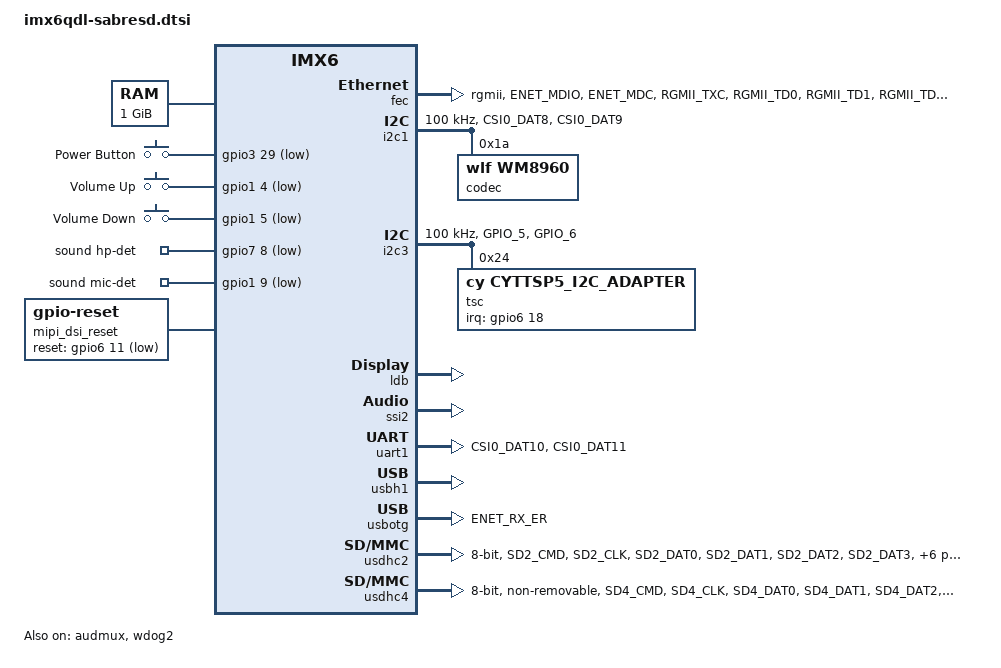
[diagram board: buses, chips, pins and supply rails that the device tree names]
/*
 * Copyright 2012-2016 Freescale Semiconductor, Inc.
 * Copyright 2011 Linaro Ltd.
 *
 * The code contained herein is licensed under the GNU General Public
 * License. You may obtain a copy of the GNU General Public License
 * Version 2 or later at the following locations:
 *
 * http://www.opensource.org/licenses/gpl-license.html
 * http://www.gnu.org/copyleft/gpl.html
 */

#include <dt-bindings/gpio/gpio.h>
#include <dt-bindings/input/input.h>
#include "imx6-timings.dtsi"

/ {
	aliases {
		mxcfb0 = &mxcfb1;
		mxcfb1 = &mxcfb2;
		mxcfb2 = &mxcfb3;
	};

	chosen {
		stdout-path = &uart1;
	};

	memory: memory {
		reg = <0x10000000 0x40000000>;
	};

	gpio-keys {
		compatible = "gpio-keys";
		pinctrl-names = "default";
		pinctrl-0 = <&pinctrl_gpio_keys>;

		power {
			label = "Power Button";
			gpios = <&gpio3 29 GPIO_ACTIVE_LOW>;
			gpio-key,wakeup;
			linux,code = <KEY_POWER>;
		};

		volume-up {
			label = "Volume Up";
			gpios = <&gpio1 4 GPIO_ACTIVE_LOW>;
			gpio-key,wakeup;
			linux,code = <KEY_VOLUMEUP>;
		};

		volume-down {
			label = "Volume Down";
			gpios = <&gpio1 5 GPIO_ACTIVE_LOW>;
			gpio-key,wakeup;
			linux,code = <KEY_VOLUMEDOWN>;
		};
	};

	sound {
		compatible = "fsl,imx6q-sabresd-wm8960",
			     "fsl,imx-audio-wm8960";
		model = "wm8960-audio";
		cpu-dai = <&ssi2>;
		audio-codec = <&codec>;
		asrc-controller = <&asrc>;
		audio-routing =
			"Headphone Jack", "HP_L",
			"Headphone Jack", "HP_R",
			"Ext Spk", "SPK_RP",
			"Ext Spk", "SPK_RN",
			"LINPUT1", "Main MIC",
			"Main MIC", "MICB"
			,"CPU-Playback", "ASRC-Playback",
			"Playback", "CPU-Playback",
			"ASRC-Capture", "CPU-Capture",
			"CPU-Capture", "Capture";
		codec-master;
		mux-int-port = <2>;
		mux-ext-port = <3>;
		hp-det-gpios = <&gpio7 8 1>;
		mic-det-gpios = <&gpio1 9 1>;
	};

	sound-hdmi {
		compatible = "fsl,imx6q-audio-hdmi",
			     "fsl,imx-audio-hdmi";
		model = "imx-audio-hdmi";
		hdmi-controller = <&hdmi_audio>;
	};

	mxcfb1: fb@0 {
		compatible = "fsl,mxc_sdc_fb";
		disp_dev = "ldb";
		interface_pix_fmt = "RGB24";
		default_bpp = <32>;
		int_clk = <0>;
		late_init = <0>;
		status = "okay";
	};

	mxcfb2: fb@1 {
		compatible = "fsl,mxc_sdc_fb";
		disp_dev = "hdmi";
		interface_pix_fmt = "RGB24";
		mode_str ="1920x1080M@60";
		default_bpp = <32>;
		int_clk = <0>;
		late_init = <0>;
		status = "disabled";
	};

	mxcfb3: fb@2 {
		compatible = "fsl,mxc_sdc_fb";
		disp_dev = "lcd";
		interface_pix_fmt = "RGB565";
		mode_str ="CLAA-WVGA";
		default_bpp = <16>;
		int_clk = <0>;
		late_init = <0>;
		status = "disabled";
	};

	lcd@0 {
		compatible = "fsl,lcd";
		ipu_id = <0>;
		disp_id = <0>;
		default_ifmt = "RGB565";
		pinctrl-names = "default";
		pinctrl-0 = <&pinctrl_ipu1>;
		status = "disabled";
	};

	backlight {
		compatible = "pwm-backlight";
		pwms = <&pwm1 0 5000000>;
		brightness-levels = <0 4 8 16 32 64 128 255>;
		default-brightness-level = <7>;
		status = "disabled";
	};

	v4l2_cap_0 {
		compatible = "fsl,imx6q-v4l2-capture";
		ipu_id = <0>;
		csi_id = <0>;
		mclk_source = <0>;
		status = "disabled";
	};

	v4l2_cap_1 {
		compatible = "fsl,imx6q-v4l2-capture";
		ipu_id = <0>;
		csi_id = <1>;
		mclk_source = <0>;
		status = "disabled";
	};

	v4l2_out {
		compatible = "fsl,mxc_v4l2_output";
		status = "okay";
	};

	mipi_dsi_reset: mipi-dsi-reset {
		compatible = "gpio-reset";
		reset-gpios = <&gpio6 11 GPIO_ACTIVE_LOW>;
		reset-delay-us = <50>;
		#reset-cells = <0>;
	};
};

&audmux {
	pinctrl-names = "default";
	pinctrl-0 = <&pinctrl_audmux>;
	status = "okay";
};

&clks {
	fsl,ldb-di0-parent = <&clks IMX6QDL_CLK_PLL2_PFD0_352M>;
	fsl,ldb-di1-parent = <&clks IMX6QDL_CLK_PLL2_PFD0_352M>;
};

&fec {
	pinctrl-names = "default";
	pinctrl-0 = <&pinctrl_enet>;
	phy-mode = "rgmii";
	phy-reset-gpios = <&gpio1 25 0>;
	fsl,magic-packet;
	status = "okay";
};

&gpc {
	fsl,ldo-bypass = <1>;
};

&hdmi_audio {
	status = "disabled";
};

&hdmi_cec {
	pinctrl-names = "default";
	pinctrl-0 = <&pinctrl_hdmi_cec>;
	status = "disabled";
};

&hdmi_core {
	ipu_id = <0>;
	disp_id = <0>;
	status = "disabled";
};

&hdmi_video {
	fsl,phy_reg_vlev = <0x0294>;
	fsl,phy_reg_cksymtx = <0x800d>;
	status = "disabled";
};

&i2c1 {
	clock-frequency = <100000>;
	pinctrl-names = "default";
	pinctrl-0 = <&pinctrl_i2c1>;
	status = "okay";

	codec: wm8960@1a {
		compatible = "wlf,wm8960";
		reg = <0x1a>;
		clock-names = "mclk";
		clocks = <&clks IMX6QDL_CLK_CKO>;
		wlf,shared-lrclk;
	};
};

&i2c2 {
	clock-frequency = <100000>;
	pinctrl-names = "default";
	pinctrl-0 = <&pinctrl_i2c2>;
	status = "disabled";

	hdmi: edid@50 {
		compatible = "fsl,imx6-hdmi-i2c";
		reg = <0x50>;
	};
};

&i2c3 {
	clock-frequency = <100000>;
	pinctrl-names = "default";
	pinctrl-0 = <&pinctrl_i2c3>;
	status = "okay";

	tsc@24 {
		compatible = "cy,cyttsp5_i2c_adapter";
		reg = <0x24>;

		/* GPIO 38, high-to-low edge triggered */
		interrupts = <18 2>;
		interrupt-parent = <&gpio6>;
		cy,adapter_id = "cyttsp5_i2c_adapter";

		cy,core {
			cy,name = "cyttsp5_core";
			cy,id = "main_ttsp_core";

			cy,irq_gpio = <&gpio6 18 0>;
			cy,rst_gpio =  <&gpio7 1 0>;
			cy,hid_desc_register = <1>;
			/* CY_CORE_FLAG_WAKE_ON_GESTURE */
			cy,flags = <1>;

			cy,mt {
				cy,name = "cyttsp5_mt";

				cy,inp_dev_name = "cyttsp5_mt";
				/* CY_MT_FLAG_FLIP | CY_MT_FLAG_INV_X | CY_MT_FLAG_INV_Y */
				cy,flags = <0x38>;
				cy,abs =
					/* ABS_MT_POSITION_X, CY_ABS_MIN_X, CY_ABS_MAX_X, 0, 0 */
					<0x35 0 880 0 0
					/* ABS_MT_POSITION_Y, CY_ABS_MIN_Y, CY_ABS_MAX_Y, 0, 0 */
					0x36 0 1280 0 0
					/* ABS_MT_PRESSURE, CY_ABS_MIN_P, CY_ABS_MAX_P, 0, 0 */
					0x3a 0 255 0 0
					/* CY_IGNORE_VALUE, CY_ABS_MIN_W, CY_ABS_MAX_W, 0, 0 */
					0xffff 0 255 0 0
					/* ABS_MT_TRACKING_ID, CY_ABS_MIN_T, CY_ABS_MAX_T, 0, 0 */
					0x39 0 15 0 0
					/* ABS_MT_TOUCH_MAJOR, 0, 255, 0, 0 */
					0x30 0 255 0 0
					/* ABS_MT_TOUCH_MINOR, 0, 255, 0, 0 */
					0x31 0 255 0 0
					/* ABS_MT_ORIENTATION, -128, 127, 0, 0 */
					0x34 0xfffffed7 127 0 0
					/* ABS_MT_TOOL_TYPE, 0, MT_TOOL_MAX, 0, 0 */
					0x37 0 1 0 0>;

				cy,vkeys_x = <720>;
				cy,vkeys_y = <1280>;

				cy,virtual_keys = /* KeyCode CenterX CenterY Width Height */
					/* KEY_BACK */
					<158 1360 90 160 180
					/* KEY_MENU */
					139 1360 270 160 180
					/* KEY_HOMEPAGE */
					172 1360 450 160 180
					/* KEY SEARCH */
					217 1360 630 160 180>;
			};
		};
	};
};

&iomuxc {
	pinctrl-names = "default";
	pinctrl-0 = <&pinctrl_hog>;

	imx6qdl-sabresd {
		pinctrl_hog: hoggrp {
			fsl,pins = <
				MX6QDL_PAD_NANDF_D0__GPIO2_IO00 0x80000000
				MX6QDL_PAD_NANDF_D1__GPIO2_IO01 0x80000000
				MX6QDL_PAD_NANDF_D2__GPIO2_IO02 0x80000000
				MX6QDL_PAD_NANDF_D3__GPIO2_IO03 0x80000000
				MX6QDL_PAD_GPIO_0__CCM_CLKO1    0x130b0
				MX6QDL_PAD_ENET_TXD1__GPIO1_IO29 0x80000000
				MX6QDL_PAD_EIM_D22__GPIO3_IO22  0x80000000
				MX6QDL_PAD_ENET_CRS_DV__GPIO1_IO25 0x80000000
				MX6QDL_PAD_EIM_D26__GPIO3_IO26 0x80000000
				MX6QDL_PAD_EIM_CS1__GPIO2_IO24 0x80000000
				MX6QDL_PAD_ENET_RXD0__GPIO1_IO27 0x80000000
				MX6QDL_PAD_EIM_A25__GPIO5_IO02 0x80000000
				MX6QDL_PAD_EIM_D23__GPIO3_IO23 0x80000000
				MX6QDL_PAD_EIM_EB3__GPIO2_IO31 0x80000000
				MX6QDL_PAD_SD1_CMD__GPIO1_IO18 0x80000000
				MX6QDL_PAD_EIM_D16__GPIO3_IO16 0x80000000
				MX6QDL_PAD_SD3_RST__GPIO7_IO08	0x80000000
				MX6QDL_PAD_GPIO_9__GPIO1_IO09 	0x80000000
				MX6QDL_PAD_EIM_DA9__GPIO3_IO09 0x80000000
				MX6QDL_PAD_NANDF_CS0__GPIO6_IO11 0x80000000
				MX6QDL_PAD_NANDF_CS1__GPIO6_IO14 0x80000000
				MX6QDL_PAD_NANDF_CS2__GPIO6_IO15 0x80000000
				MX6QDL_PAD_NANDF_CS3__GPIO6_IO16 0x80000000
				MX6QDL_PAD_SD3_DAT4__GPIO7_IO01	0x80000000
				MX6QDL_PAD_SD3_DAT6__GPIO6_IO18	0x80000000
			>;
		};

		pinctrl_audmux: audmuxgrp {
			fsl,pins = <
				MX6QDL_PAD_CSI0_DAT7__AUD3_RXD		0x130b0
				MX6QDL_PAD_CSI0_DAT4__AUD3_TXC		0x130b0
				MX6QDL_PAD_CSI0_DAT5__AUD3_TXD		0x110b0
				MX6QDL_PAD_CSI0_DAT6__AUD3_TXFS		0x130b0
			>;
		};

		pinctrl_enet: enetgrp {
			fsl,pins = <
				MX6QDL_PAD_ENET_MDIO__ENET_MDIO		0x1b0b0
				MX6QDL_PAD_ENET_MDC__ENET_MDC		0x1b0b0
				MX6QDL_PAD_RGMII_TXC__RGMII_TXC		0x1b0b0
				MX6QDL_PAD_RGMII_TD0__RGMII_TD0		0x1b0b0
				MX6QDL_PAD_RGMII_TD1__RGMII_TD1		0x1b0b0
				MX6QDL_PAD_RGMII_TD2__RGMII_TD2		0x1b0b0
				MX6QDL_PAD_RGMII_TD3__RGMII_TD3		0x1b0b0
				MX6QDL_PAD_RGMII_TX_CTL__RGMII_TX_CTL	0x1b0b0
				MX6QDL_PAD_ENET_REF_CLK__ENET_TX_CLK	0x1b0b0
				MX6QDL_PAD_RGMII_RXC__RGMII_RXC		0x1b0b0
				MX6QDL_PAD_RGMII_RD0__RGMII_RD0		0x1b0b0
				MX6QDL_PAD_RGMII_RD1__RGMII_RD1		0x1b0b0
				MX6QDL_PAD_RGMII_RD2__RGMII_RD2		0x1b0b0
				MX6QDL_PAD_RGMII_RD3__RGMII_RD3		0x1b0b0
				MX6QDL_PAD_RGMII_RX_CTL__RGMII_RX_CTL	0x1b0b0
				MX6QDL_PAD_GPIO_16__ENET_REF_CLK	0x4001b0a8
			>;
		};

		pinctrl_enet_irq: enetirqgrp {
			fsl,pins = <
				MX6QDL_PAD_GPIO_6__ENET_IRQ		0x000b1
			>;
		};

		pinctrl_gpio_keys: gpio_keysgrp {
			fsl,pins = <
				MX6QDL_PAD_EIM_D29__GPIO3_IO29 0x1b0b0
				MX6QDL_PAD_GPIO_4__GPIO1_IO04  0x1b0b0
			>;
		};

		pinctrl_hdmi_cec: hdmicecgrp {
			fsl,pins = <
				MX6QDL_PAD_KEY_ROW2__HDMI_TX_CEC_LINE 0x108b0
			>;
		};

		pinctrl_hdmi_hdcp: hdmihdcpgrp {
			fsl,pins = <
				MX6QDL_PAD_KEY_COL3__HDMI_TX_DDC_SCL 0x4001b8b1
				MX6QDL_PAD_KEY_ROW3__HDMI_TX_DDC_SDA 0x4001b8b1
			>;
		};

		pinctrl_i2c1: i2c1grp {
			fsl,pins = <
				MX6QDL_PAD_CSI0_DAT8__I2C1_SDA		0x4001b8b1
				MX6QDL_PAD_CSI0_DAT9__I2C1_SCL		0x4001b8b1
			>;
		};

		pinctrl_i2c2: i2c2grp {
			fsl,pins = <
				MX6QDL_PAD_KEY_COL3__I2C2_SCL		0x4001b8b1
				MX6QDL_PAD_KEY_ROW3__I2C2_SDA		0x4001b8b1
			>;
		};

		pinctrl_i2c3: i2c3grp {
			fsl,pins = <
				MX6QDL_PAD_GPIO_5__I2C3_SCL		0x4001b8b1
				MX6QDL_PAD_GPIO_6__I2C3_SDA		0x4001b8b1
			>;
		};

		pinctrl_ipu1: ipu1grp {
			fsl,pins = <
				MX6QDL_PAD_DI0_DISP_CLK__IPU1_DI0_DISP_CLK 0x10
				MX6QDL_PAD_DI0_PIN15__IPU1_DI0_PIN15       0x10
				MX6QDL_PAD_DI0_PIN2__IPU1_DI0_PIN02        0x10
				MX6QDL_PAD_DI0_PIN3__IPU1_DI0_PIN03        0x10
				MX6QDL_PAD_DI0_PIN4__IPU1_DI0_PIN04        0x80000000
				MX6QDL_PAD_DISP0_DAT0__IPU1_DISP0_DATA00   0x10
				MX6QDL_PAD_DISP0_DAT1__IPU1_DISP0_DATA01   0x10
				MX6QDL_PAD_DISP0_DAT2__IPU1_DISP0_DATA02   0x10
				MX6QDL_PAD_DISP0_DAT3__IPU1_DISP0_DATA03   0x10
				MX6QDL_PAD_DISP0_DAT4__IPU1_DISP0_DATA04   0x10
				MX6QDL_PAD_DISP0_DAT5__IPU1_DISP0_DATA05   0x10
				MX6QDL_PAD_DISP0_DAT6__IPU1_DISP0_DATA06   0x10
				MX6QDL_PAD_DISP0_DAT7__IPU1_DISP0_DATA07   0x10
				MX6QDL_PAD_DISP0_DAT8__IPU1_DISP0_DATA08   0x10
				MX6QDL_PAD_DISP0_DAT9__IPU1_DISP0_DATA09   0x10
				MX6QDL_PAD_DISP0_DAT10__IPU1_DISP0_DATA10  0x10
				MX6QDL_PAD_DISP0_DAT11__IPU1_DISP0_DATA11  0x10
				MX6QDL_PAD_DISP0_DAT12__IPU1_DISP0_DATA12  0x10
				MX6QDL_PAD_DISP0_DAT13__IPU1_DISP0_DATA13  0x10
				MX6QDL_PAD_DISP0_DAT14__IPU1_DISP0_DATA14  0x10
				MX6QDL_PAD_DISP0_DAT15__IPU1_DISP0_DATA15  0x10
				MX6QDL_PAD_DISP0_DAT16__IPU1_DISP0_DATA16  0x10
				MX6QDL_PAD_DISP0_DAT17__IPU1_DISP0_DATA17  0x10
				MX6QDL_PAD_DISP0_DAT18__IPU1_DISP0_DATA18  0x10
				MX6QDL_PAD_DISP0_DAT19__IPU1_DISP0_DATA19  0x10
				MX6QDL_PAD_DISP0_DAT20__IPU1_DISP0_DATA20  0x10
				MX6QDL_PAD_DISP0_DAT21__IPU1_DISP0_DATA21  0x10
				MX6QDL_PAD_DISP0_DAT22__IPU1_DISP0_DATA22  0x10
				MX6QDL_PAD_DISP0_DAT23__IPU1_DISP0_DATA23  0x10
			>;
		};

		pinctrl_ipu1_2: ipu1grp-2 { /* parallel camera */
			fsl,pins = <
				MX6QDL_PAD_CSI0_DAT12__IPU1_CSI0_DATA12    0x80000000
				MX6QDL_PAD_CSI0_DAT13__IPU1_CSI0_DATA13    0x80000000
				MX6QDL_PAD_CSI0_DAT14__IPU1_CSI0_DATA14    0x80000000
				MX6QDL_PAD_CSI0_DAT15__IPU1_CSI0_DATA15    0x80000000
				MX6QDL_PAD_CSI0_DAT16__IPU1_CSI0_DATA16    0x80000000
				MX6QDL_PAD_CSI0_DAT17__IPU1_CSI0_DATA17    0x80000000
				MX6QDL_PAD_CSI0_DAT18__IPU1_CSI0_DATA18    0x80000000
				MX6QDL_PAD_CSI0_DAT19__IPU1_CSI0_DATA19    0x80000000
				MX6QDL_PAD_CSI0_DATA_EN__IPU1_CSI0_DATA_EN 0x80000000
				MX6QDL_PAD_CSI0_PIXCLK__IPU1_CSI0_PIXCLK   0x80000000
				MX6QDL_PAD_CSI0_MCLK__IPU1_CSI0_HSYNC      0x80000000
				MX6QDL_PAD_CSI0_VSYNC__IPU1_CSI0_VSYNC     0x80000000
				MX6QDL_PAD_SD1_DAT1__GPIO1_IO17            0x80000000
				MX6QDL_PAD_SD1_DAT0__GPIO1_IO16            0x80000000
			>;
		};

		pinctrl_pcie: pciegrp {
			fsl,pins = <
				MX6QDL_PAD_GPIO_17__GPIO7_IO12	0x1b0b0
			>;
		};

		pinctrl_pcie_reg: pciereggrp {
			fsl,pins = <
				MX6QDL_PAD_EIM_D19__GPIO3_IO19	0x1b0b0
			>;
		};

		pinctrl_pwm1: pwm1grp {
			fsl,pins = <
				MX6QDL_PAD_SD1_DAT3__PWM1_OUT		0x1b0b1
			>;
		};

		pinctrl_uart1: uart1grp {
			fsl,pins = <
				MX6QDL_PAD_CSI0_DAT10__UART1_TX_DATA	0x1b0b1
				MX6QDL_PAD_CSI0_DAT11__UART1_RX_DATA	0x1b0b1
			>;
		};

		pinctrl_uart5_1: uart5grp-1 {
			fsl,pins = <
				MX6QDL_PAD_KEY_COL1__UART5_TX_DATA	0x1b0b1
				MX6QDL_PAD_KEY_ROW1__UART5_RX_DATA	0x1b0b1
				MX6QDL_PAD_KEY_COL4__UART5_RTS_B	0x1b0b1
				MX6QDL_PAD_KEY_ROW4__UART5_CTS_B	0x1b0b1
			>;
		};

		pinctrl_uart5dte_1: uart5dtegrp-1 {
			fsl,pins = <
				MX6QDL_PAD_KEY_ROW1__UART5_TX_DATA	0x1b0b1
				MX6QDL_PAD_KEY_COL1__UART5_RX_DATA	0x1b0b1
				MX6QDL_PAD_KEY_ROW4__UART5_RTS_B	0x1b0b1
				MX6QDL_PAD_KEY_COL4__UART5_CTS_B	0x1b0b1
			>;
		};

		pinctrl_usbotg: usbotggrp {
			fsl,pins = <
				MX6QDL_PAD_ENET_RX_ER__USB_OTG_ID	0x17059
			>;
		};

		pinctrl_usdhc2: usdhc2grp {
			fsl,pins = <
				MX6QDL_PAD_SD2_CMD__SD2_CMD		0x17059
				MX6QDL_PAD_SD2_CLK__SD2_CLK		0x10059
				MX6QDL_PAD_SD2_DAT0__SD2_DATA0		0x17059
				MX6QDL_PAD_SD2_DAT1__SD2_DATA1		0x17059
				MX6QDL_PAD_SD2_DAT2__SD2_DATA2		0x17059
				MX6QDL_PAD_SD2_DAT3__SD2_DATA3		0x17059
				MX6QDL_PAD_NANDF_D4__SD2_DATA4		0x17059
				MX6QDL_PAD_NANDF_D5__SD2_DATA5		0x17059
				MX6QDL_PAD_NANDF_D6__SD2_DATA6		0x17059
				MX6QDL_PAD_NANDF_D7__SD2_DATA7		0x17059
			>;
		};

		pinctrl_usdhc3: usdhc3grp {
			fsl,pins = <
				MX6QDL_PAD_SD3_CMD__SD3_CMD		0x17059
				MX6QDL_PAD_SD3_CLK__SD3_CLK		0x10059
				MX6QDL_PAD_SD3_DAT0__SD3_DATA0		0x17059
				MX6QDL_PAD_SD3_DAT1__SD3_DATA1		0x17059
				MX6QDL_PAD_SD3_DAT2__SD3_DATA2		0x17059
				MX6QDL_PAD_SD3_DAT3__SD3_DATA3		0x17059
				MX6QDL_PAD_SD3_DAT4__SD3_DATA4		0x17059
				MX6QDL_PAD_SD3_DAT5__SD3_DATA5		0x17059
				MX6QDL_PAD_SD3_DAT6__SD3_DATA6		0x17059
				MX6QDL_PAD_SD3_DAT7__SD3_DATA7		0x17059
			>;
		};

		pinctrl_usdhc4: usdhc4grp {
			fsl,pins = <
				MX6QDL_PAD_SD4_CMD__SD4_CMD		0x17059
				MX6QDL_PAD_SD4_CLK__SD4_CLK		0x10059
				MX6QDL_PAD_SD4_DAT0__SD4_DATA0		0x17059
				MX6QDL_PAD_SD4_DAT1__SD4_DATA1		0x17059
				MX6QDL_PAD_SD4_DAT2__SD4_DATA2		0x17059
				MX6QDL_PAD_SD4_DAT3__SD4_DATA3		0x17059
				MX6QDL_PAD_SD4_DAT4__SD4_DATA4		0x17059
				MX6QDL_PAD_SD4_DAT5__SD4_DATA5		0x17059
				MX6QDL_PAD_SD4_DAT6__SD4_DATA6		0x17059
				MX6QDL_PAD_SD4_DAT7__SD4_DATA7		0x17059
			>;
		};

		pinctrl_wdog: wdoggrp {
			fsl,pins = <
				MX6QDL_PAD_GPIO_1__WDOG2_B 0x80000000
			>;
		};
	};

};

&ldb {
	status = "okay";

	lvds-channel@0 {
		primary;
		crtc = "ipu1-di0";
		fsl,data-mapping = "spwg";
		fsl,data-width = <24>;
		native-mode = <&AUO800x600>;
		status = "okay";
	};

	lvds-channel@1 {
		crtc = "ipu1-di1";
		fsl,data-mapping = "spwg";
		fsl,data-width = <24>;
		native-mode = <&AUO800x600>;
		status = "okay";
	};
};

&mipi_csi {
	status = "disabled";
	ipu_id = <0>;
	csi_id = <1>;
	v_channel = <0>;
	lanes = <2>;
};

&mipi_dsi {
	dev_id = <0>;
	disp_id = <1>;
	lcd_panel = "TRULY-WVGA";
	resets = <&mipi_dsi_reset>;
	status = "disabled";
};

&pcie {
	pinctrl-names = "default";
	pinctrl-0 = <&pinctrl_pcie>;
	reset-gpio = <&gpio7 12 0>;
	status = "disabled";
};

&pwm1 {
	pinctrl-names = "default";
	pinctrl-0 = <&pinctrl_pwm1>;
	status = "disabled";
};

&snvs_poweroff {
	status = "disabled";
};

&ssi2 {
	status = "okay";
};

&uart1 {
	pinctrl-names = "default";
	pinctrl-0 = <&pinctrl_uart1>;
	status = "okay";
};

&usbh1 {
	status = "okay";
};

&usbotg {
	pinctrl-names = "default";
	pinctrl-0 = <&pinctrl_usbotg>;
	disable-over-current;
	srp-disable;
	hnp-disable;
	adp-disable;
	status = "okay";
};

&usbphy1 {
	tx-d-cal = <0x5>;
};

&usbphy2 {
	tx-d-cal = <0x5>;
};

&usdhc2 {
	pinctrl-names = "default";
	pinctrl-0 = <&pinctrl_usdhc2>;
	bus-width = <8>;
	cd-gpios = <&gpio2 2 GPIO_ACTIVE_LOW>;
	wp-gpios = <&gpio2 3 GPIO_ACTIVE_HIGH>;
	no-1-8-v;
	keep-power-in-suspend;
	enable-sdio-wakeup;
	status = "okay";
};

&usdhc3 {
	pinctrl-names = "default";
	pinctrl-0 = <&pinctrl_usdhc3>;
	bus-width = <8>;
	cd-gpios = <&gpio2 0 GPIO_ACTIVE_LOW>;
	wp-gpios = <&gpio2 1 GPIO_ACTIVE_HIGH>;
	no-1-8-v;
	keep-power-in-suspend;
	enable-sdio-wakeup;
	status = "disabled";
};

&usdhc4 {
	pinctrl-names = "default";
	pinctrl-0 = <&pinctrl_usdhc4>;
	bus-width = <8>;
	non-removable;
	no-1-8-v;
	keep-power-in-suspend;
	status = "okay";
};

&wdog1 {
	status = "disabled";
};

&wdog2 {
	pinctrl-names = "default";
	pinctrl-0 = <&pinctrl_wdog>;
	fsl,wdog_b;
	status = "okay";
};
